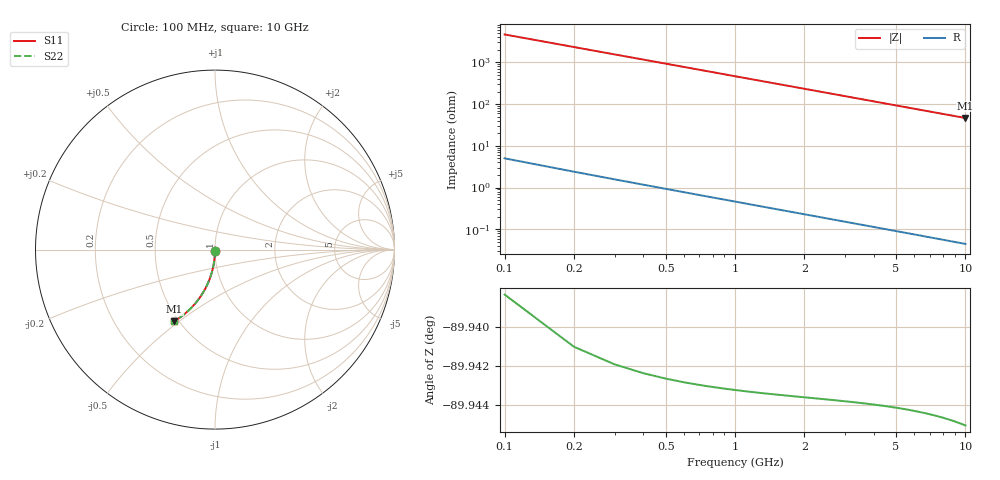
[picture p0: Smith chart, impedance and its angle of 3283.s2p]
# Hz S RI R 50.00
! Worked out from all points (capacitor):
!   100 points, 100 MHz to 10 GHz, reference 50 ohm
!   read as one part in shunt: C = 341 fF near 100 MHz
!   lowest |Z| = 46.5 ohm at 10 GHz (marker M1)
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1e8  1.59e-05 -0.00517  0.9999 -0.00555  0.9999 -0.00555  1.59e-05 -0.00517
2e8  -7.51e-05 -0.0103  0.9998 -0.0111  0.9998 -0.0111  -7.51e-05 -0.0103
3e8  -0.000224 -0.0155  0.9997 -0.0167  0.9997 -0.0167  -0.000224 -0.0155
4e8  -0.000429 -0.0207  0.9995 -0.0222  0.9995 -0.0222  -0.000429 -0.0207
5e8  -0.000693 -0.0258  0.9992 -0.0277  0.9992 -0.0277  -0.000693 -0.0258
6e8  -0.00101 -0.031  0.9989 -0.0333  0.9989 -0.0333  -0.00101 -0.031
7e8  -0.00139 -0.0361  0.9985 -0.0388  0.9985 -0.0388  -0.00139 -0.0361
8e8  -0.00182 -0.0413  0.9981 -0.0444  0.9981 -0.0444  -0.00182 -0.0413
9e8  -0.00232 -0.0464  0.9976 -0.0499  0.9976 -0.0499  -0.00232 -0.0464
1.1e9  -0.00347 -0.0567  0.9964 -0.0609  0.9964 -0.0609  -0.00347 -0.0567
1.4e9  -0.00562 -0.072  0.9943 -0.0774  0.9943 -0.0774  -0.00562 -0.072
1.8e9  -0.00927 -0.0922  0.9906 -0.0992  0.9906 -0.0992  -0.00927 -0.0922
2.1e9  -0.0126 -0.1073  0.9873 -0.1153  0.9873 -0.1153  -0.0126 -0.1073
2.5e9  -0.0178 -0.127  0.9821 -0.1367  0.9821 -0.1367  -0.0178 -0.127
2.9e9  -0.0238 -0.1465  0.9761 -0.1577  0.9761 -0.1577  -0.0238 -0.1465
3.4e9  -0.0324 -0.1703  0.9674 -0.1834  0.9674 -0.1834  -0.0324 -0.1703
4.2e9  -0.0487 -0.2069  0.9511 -0.2231  0.9511 -0.2231  -0.0487 -0.2069
5.1e9  -0.0703 -0.2456  0.9294 -0.2653  0.9294 -0.2653  -0.0703 -0.2456
5.9e9  -0.0921 -0.2774  0.9075 -0.3004  0.9075 -0.3004  -0.0921 -0.2774
6.7e9  -0.1159 -0.3068  0.8837 -0.3329  0.8837 -0.3329  -0.1159 -0.3068
8.4e9  -0.1714 -0.3602  0.8279 -0.3931  0.8279 -0.3931  -0.1714 -0.3602
1e10  -0.2275 -0.3993  0.7716 -0.4387  0.7716 -0.4387  -0.2275 -0.3993
